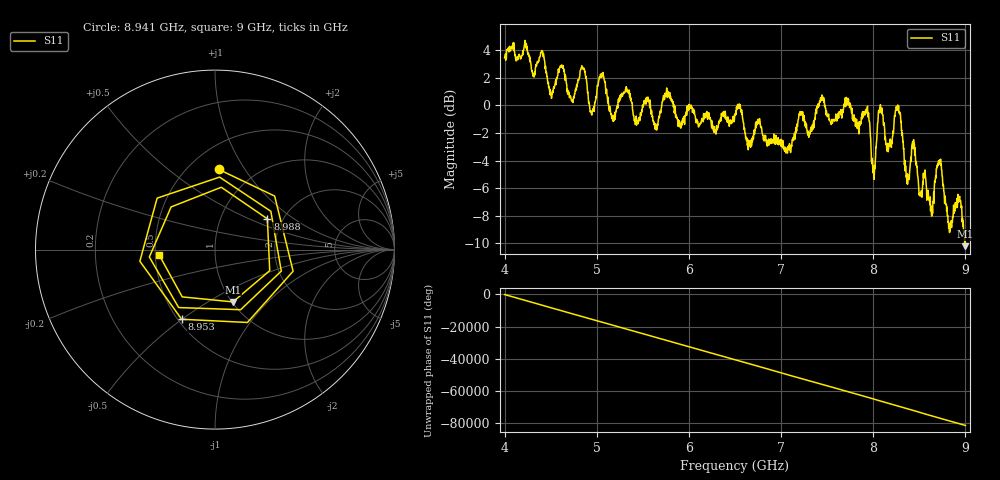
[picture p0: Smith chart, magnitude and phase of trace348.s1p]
! Created with skrf 1.8.0 (http://scikit-rf.org).
# Hz S RI R 50.0
!freq ReS11 ImS11
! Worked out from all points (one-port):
!   1601 points, 4 GHz to 9 GHz, reference 50 ohm
!   lowest |S11| = -10.2 dB at 8.994 GHz (marker M1), VSWR 1.89, Z = 50.6 - j32.6 ohm
!   |S11| at or under -10 dB: 8.99267 GHz to 8.995978 GHz (3.308 MHz wide, 0.0368 % of centre); 8.99883 GHz to end of sweep
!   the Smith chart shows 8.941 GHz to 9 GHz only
!   S11 on the Smith chart (normalised r, x): 8.941 GHz: 0.69, +0.77; 8.953 GHz: 0.52, -0.50; 8.988 GHz: 1.67, +0.65; 9 GHz: 0.52, -0.03
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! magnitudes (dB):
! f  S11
! 4 GHz  3.5
! 4.503 GHz  0.8
! 4.625 GHz  2.8
! 4.728 GHz  0.3
! 4.853 GHz  2.6
! 4.947 GHz  -0.7
! 5.05 GHz  2.1
! 5.175 GHz  -1.1
! 5.25 GHz  0.4
! 5.875 GHz  -1.0
! 6.5 GHz  -0.7
! 7.125 GHz  -2.5
! 7.75 GHz  -0.1
! 7.938 GHz  0.0
! 8.003 GHz  -4.5
! 8.072 GHz  -0.2
! 8.172 GHz  -2.9
! 8.269 GHz  -0.1
! 8.375 GHz  -5.5
! 8.434 GHz  -3.1
! 8.625 GHz  -7.4
! 8.712 GHz  -4.1
! 8.828 GHz  -9.2
! 8.941 GHz  -7.0
! 8.953 GHz  -7.3
! 8.988 GHz  -9.4
! 8.994 GHz  -10.2
! 9 GHz  -10.1
